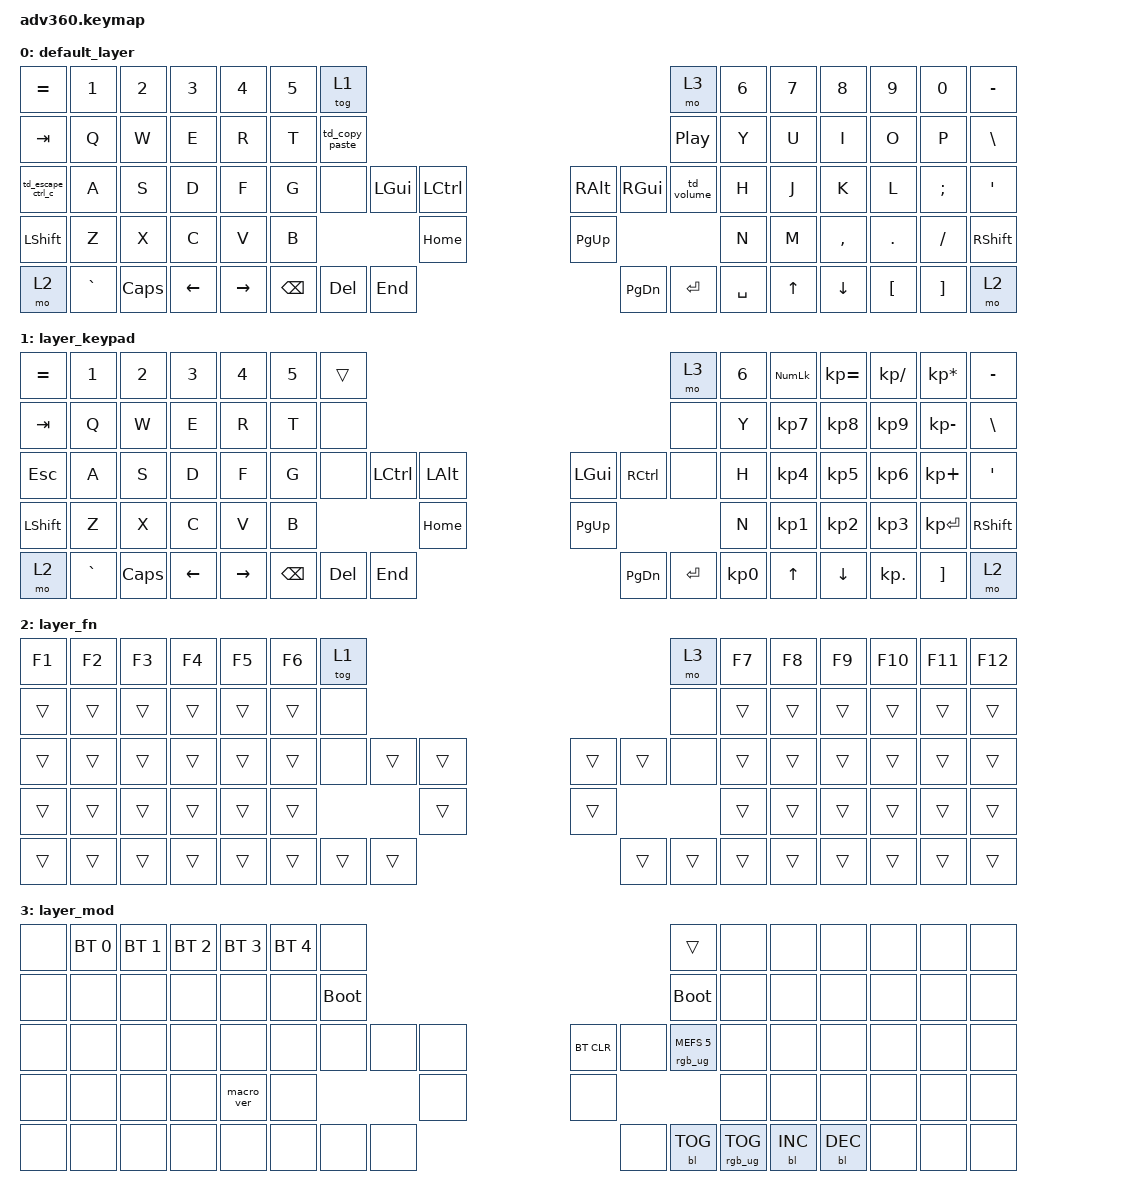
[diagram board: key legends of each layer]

/*
 * Copyright (c) 2020 The ZMK Contributors
 *
 * SPDX-License-Identifier: MIT
 */


/* THIS FILE WAS GENERATED!
 *
 * This file was generated automatically. You may or may not want to
 * edit it directly.
 */

#include <behaviors.dtsi>
#include <dt-bindings/zmk/keys.h>
#include <dt-bindings/zmk/bt.h>
#include <dt-bindings/zmk/rgb.h>
#include <dt-bindings/zmk/backlight.h>

/ {
  behaviors {
    #include "macros.dtsi"
    #include "version.dtsi"

    hm: homerow_mods {
        compatible = "zmk,behavior-hold-tap";
        label = "HOMEROW_MODS";
        #binding-cells = <2>;
        tapping-term-ms = <200>;
        quick_tap_ms = <175>;
        flavor = "tap-preferred";
        bindings = <&kp>, <&kp>;
    };

    td_copy_paste: tapdance_copy_paste {
        compatible = "zmk,behavior-tap-dance";
        label = "TD_COPY_PASTE";
        #binding-cells = <0>;
        bindings = <&kp LG(C)>, <&kp LG(V)>;
    };

    td_volume: tapdance_volume {
        compatible = "zmk,behavior-tap-dance";
        label = "TD_VOLUME";
        #binding-cells = <0>;
        bindings = <&kp C_VOLUME_UP>, <&kp C_VOLUME_DOWN>;
    };
    td_change_desktops: tapdance_change_desktops {
        compatible = "zmk,behavior-tap-dance";
        label = "TD_CHANGE_DESKTOPS";
        #binding-cells = <0>;
        bindings = <&kp LC(LEFT)>, <&kp LC(RIGHT)>;
    };
    td_escape_ctrl_c: tapdance_escape_ctrl_c {
        compatible = "zmk,behavior-tap-dance";
        label = "TD_ESCAPE_CTRL_C";
        #binding-cells = <0>;
        bindings = <&kp ESC>, <&kp LC(C)>;
    };
    // td_change_desktop_left: tapdance_change_desktop_left {
    //     compatible = "zmk,behavior-tap-dance";
    //     label = "TD_CHANGE_DESKTOP_LEFT";
    //     #binding-cells = <0>;
    //     bindings = <&kp LEFT>, <&kp LC(LEFT)>;
    // };

    // td_change_desktop_right: tapdance_change_desktop_right {
    //     compatible = "zmk,behavior-tap-dance";
    //     label = "TD_CHANGE_DESKTOP_RIGHT";
    //     #binding-cells = <0>;
    //     bindings = <&kp RIGHT>, <&kp LC(RIGHT)>;
    // };
  };

    keymap {
        compatible = "zmk,keymap";


        default_layer {
            bindings = <
 &kp EQUAL     &kp N1    &kp N2    &kp N3     &kp N4  &kp N5              &tog 1                                                                    &mo 3  &kp N6  &kp N7     &kp N8    &kp N9    &kp N0  &kp MINUS
   &kp TAB      &kp Q     &kp W     &kp E      &kp R   &kp T               &td_copy_paste                                                              &kp C_PLAY_PAUSE   &kp Y   &kp U      &kp I     &kp O     &kp P   &kp BSLH
   &td_escape_ctrl_c      &kp A     &kp S     &kp D      &kp F   &kp G               &none  &kp LGUI  &kp LCTRL                  &kp RALT   &kp RGUI  &td_volume   &kp H   &kp J      &kp K     &kp L  &kp SEMI    &kp SQT
 &kp LSHFT      &kp Z     &kp X     &kp C      &kp V   &kp B                                 &kp HOME                  &kp PG_UP                            &kp N   &kp M  &kp COMMA   &kp DOT  &kp FSLH  &kp RSHFT
     &mo 2  &kp GRAVE  &kp CAPS  &kp LEFT_ARROW  &kp RIGHT_ARROW                    &kp BSPC   &kp DEL    &kp END                  &kp PG_DN  &kp ENTER     &kp SPACE          &kp UP   &kp DOWN  &kp LBKT  &kp RBKT      &mo 2
            >;
        };

        layer_keypad {
            bindings = <
 &kp EQUAL     &kp N1    &kp N2    &kp N3     &kp N4  &kp N5              &trans                                                                 &mo 3  &kp N6  &kp KP_NUM  &kp KP_EQUAL  &kp KP_DIVIDE  &kp KP_MULTIPLY  &kp MINUS
   &kp TAB      &kp Q     &kp W     &kp E      &kp R   &kp T               &none                                                                 &none   &kp Y   &kp KP_N7     &kp KP_N8      &kp KP_N9     &kp KP_MINUS   &kp BSLH
   &kp ESC      &kp A     &kp S     &kp D      &kp F   &kp G               &none  &kp LCTRL  &kp LALT                   &kp LGUI  &kp RCTRL      &none   &kp H   &kp KP_N4     &kp KP_N5      &kp KP_N6      &kp KP_PLUS    &kp SQT
 &kp LSHFT      &kp Z     &kp X     &kp C      &kp V   &kp B                                 &kp HOME                  &kp PG_UP                         &kp N   &kp KP_N1     &kp KP_N2      &kp KP_N3     &kp KP_ENTER  &kp RSHFT
     &mo 2  &kp GRAVE  &kp CAPS  &kp LEFT  &kp RIGHT                    &kp BSPC    &kp DEL   &kp END                  &kp PG_DN  &kp ENTER  &kp KP_N0              &kp UP      &kp DOWN     &kp KP_DOT         &kp RBKT      &mo 2
            >;
        };

        layer_fn {
            bindings = <
 &kp F1  &kp F2  &kp F3  &kp F4  &kp F5  &kp F6            &tog 1                                                   &mo 3  &kp F7  &kp F8  &kp F9  &kp F10  &kp F11  &kp F12
 &trans  &trans  &trans  &trans  &trans  &trans             &none                                                   &none  &trans  &trans  &trans   &trans   &trans   &trans
 &trans  &trans  &trans  &trans  &trans  &trans             &none  &trans  &trans                  &trans  &trans   &none  &trans  &trans  &trans   &trans   &trans   &trans
 &trans  &trans  &trans  &trans  &trans  &trans                            &trans                  &trans                  &trans  &trans  &trans   &trans   &trans   &trans
 &trans  &trans  &trans  &trans  &trans                    &trans  &trans  &trans                  &trans  &trans  &trans          &trans  &trans   &trans   &trans   &trans
            >;
        };

        layer_mod {
            bindings = <
  &none  &bt BT_SEL 0  &bt BT_SEL 1  &bt BT_SEL 2  &bt BT_SEL 3  &bt BT_SEL 4                  &none                                                                          &trans   &none       &none       &none   &none   &none   &none
  &none         &none         &none         &none         &none         &none            &bootloader                                                                     &bootloader   &none       &none       &none   &none   &none   &none
  &none         &none         &none         &none         &none         &none                  &none   &none   &none                  &bt BT_CLR       &none  &rgb_ug RGB_MEFS_CMD 5   &none       &none       &none   &none   &none   &none
  &none         &none         &none         &none    &macro_ver         &none                                  &none                       &none                                       &none       &none       &none   &none   &none   &none
  &none         &none         &none         &none         &none                                &none   &none   &none                       &none  &bl BL_TOG         &rgb_ug RGB_TOG          &bl BL_INC  &bl BL_DEC   &none   &none   &none
            >;
        };

    };
};
